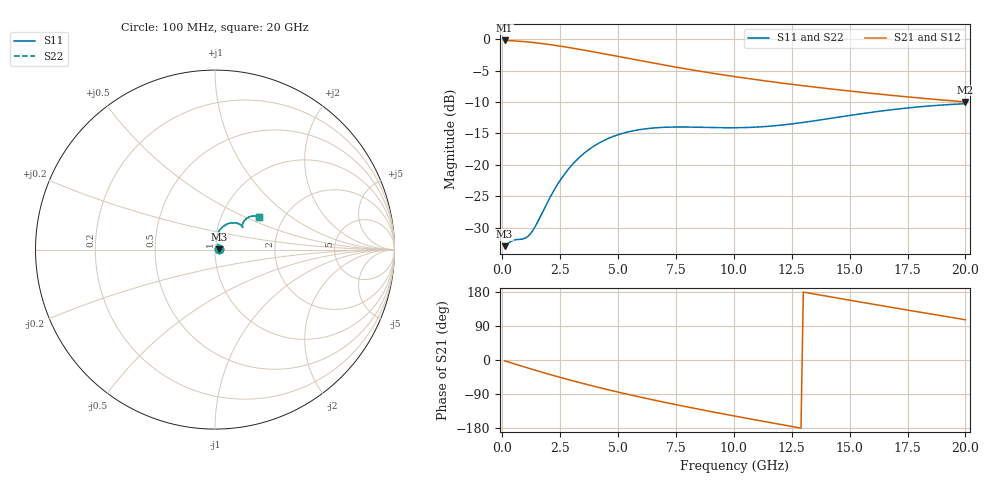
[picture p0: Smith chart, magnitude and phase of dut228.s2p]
! Touchstone file exported from HFSS 2024.1.0
!  File:  C:/UserFiles/LocalFiles/RDL_TSV_Batchsim/temp_RDL_TSV_228_1779451003.aedt
!  Generated:  08:14:06 PM May 22, 2026
!  Design:  RDL_TSV
!  Project:  temp_RDL_TSV_228_1779451003
!  Setup:  Setup1
!  Solution:  Sweep
! Variables:
!  dtsv = 6.45um
!  hbump = 3um
!  htsv = 90.86um
!  ldown = 571um
!  lrdl = 507.08um
!  p = 40
!  p1 = 40.77um
!  rhole = 10um
!  subl = 3741.32um
!  t = 450um
!  tdown = 4.98um
!  trdl = 2.15um
!  viad = 10um
!  wdown = 27.06um
!  wrdl = 20.76um
!  xbump = 18um
# GHz S MA R 50.000000
! Terminal data exported
! Port[1] = TM1_1_T1
! Port[2] = TM1_4_T1
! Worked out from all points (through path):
!   200 points, 100 MHz to 20 GHz, reference 50 ohm
!   highest |S21| = -0.20 dB at 100 MHz (marker M1); lowest = -10.0 dB at 20 GHz (marker M2)
!   group delay of S21, straight-line fit = 33.8 ps
!   lowest |S11| = -32.9 dB at 100 MHz (marker M3), VSWR 1.05, Z = 52.3 + j0.285 ohm
!   |S11| at or under -10 dB: start of sweep to end of sweep
!   |S22| runs from -32.9 to -10.3 dB; largest |S21 - S12| = 1.2e-14
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0.1  0.02254 6.9  0.9774 -2.0  0.9774 -2.0  0.02254 6.9
! Gamma 0 0 0 0
! Port Impedance 50 0 50 0
0.6  0.0254 25.0  0.9673 -11.7  0.9673 -11.7  0.02541 24.9
1  0.02618 42.6  0.9548 -19.2  0.9548 -19.2  0.02619 42.4
1.2  0.02808 53.5  0.9471 -22.9  0.9471 -22.9  0.02806 53.3
1.5  0.03433 67.9  0.9341 -28.4  0.9341 -28.4  0.03425 67.7
1.9  0.04823 78.6  0.9143 -35.5  0.9143 -35.5  0.04804 78.4
2.5  0.07537 81.6  0.8809 -45.9  0.8809 -45.9  0.07503 81.4
3  0.09943 78.8  0.851 -54.2  0.851 -54.2  0.09898 78.7
3.5  0.1223 74.2  0.8203 -62.2  0.8203 -62.2  0.1217 74.1
4.2  0.15 67.0  0.7771 -73.0  0.7771 -73.0  0.1493 66.9
4.9  0.1712 59.9  0.7349 -83.3  0.7349 -83.3  0.1704 59.9
5.8  0.1889 52.0  0.6837 -95.8  0.6837 -95.8  0.1881 52.1
6.8  0.1982 45.3  0.632 -109.0  0.632 -109.0  0.1973 45.3
7.6  0.2001 41.6  0.5949 -119.1  0.5949 -119.1  0.1992 41.7
8.4  0.1994 39.4  0.5616 -128.8  0.5616 -128.8  0.1985 39.5
10.1  0.1975 39.0  0.5019 -148.7  0.5019 -148.7  0.1968 39.1
11.7  0.2042 41.7  0.4569 -166.6  0.4569 -166.6  0.2036 41.8
13.4  0.2231 44.2  0.4177 174.9  0.4177 174.9  0.2225 44.3
15.1  0.2489 44.5  0.3851 156.8  0.3851 156.8  0.2483 44.5
16.7  0.2731 42.8  0.3591 140.0  0.3591 140.0  0.2725 42.8
18.3  0.2928 40.1  0.3368 123.5  0.3368 123.5  0.2921 40.1
20  0.3067 36.8  0.3168 106.2  0.3168 106.2  0.3059 36.8
